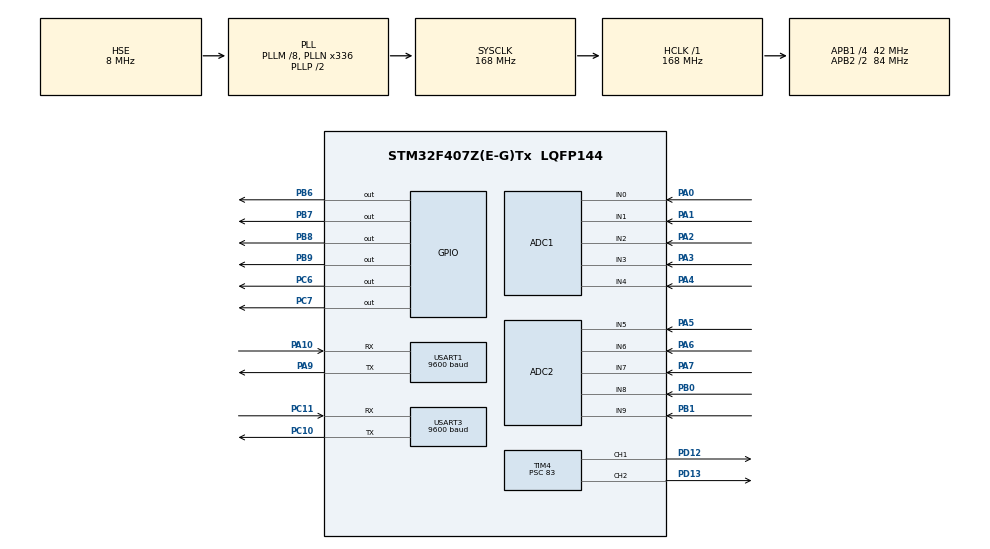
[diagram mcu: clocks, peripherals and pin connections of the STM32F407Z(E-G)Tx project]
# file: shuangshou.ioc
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ADC1.Channel-0\#ChannelRegularConversion=ADC_CHANNEL_0
ADC1.Channel-1\#ChannelRegularConversion=ADC_CHANNEL_1
ADC1.Channel-2\#ChannelRegularConversion=ADC_CHANNEL_2
ADC1.Channel-3\#ChannelRegularConversion=ADC_CHANNEL_3
ADC1.Channel-4\#ChannelRegularConversion=ADC_CHANNEL_4
ADC1.ClockPrescaler=ADC_CLOCK_SYNC_PCLK_DIV4
ADC1.ContinuousConvMode=ENABLE
ADC1.DMAContinuousRequests=ENABLE
ADC1.DiscontinuousConvMode=DISABLE
ADC1.NbrOfConversion=5
ADC1.NbrOfConversionFlag=1
ADC1.Rank-0\#ChannelRegularConversion=1
ADC1.Rank-1\#ChannelRegularConversion=2
ADC1.Rank-2\#ChannelRegularConversion=3
ADC1.Rank-3\#ChannelRegularConversion=4
ADC1.Rank-4\#ChannelRegularConversion=5
ADC1.SamplingTime-0\#ChannelRegularConversion=ADC_SAMPLETIME_480CYCLES
ADC1.SamplingTime-1\#ChannelRegularConversion=ADC_SAMPLETIME_480CYCLES
ADC1.SamplingTime-2\#ChannelRegularConversion=ADC_SAMPLETIME_480CYCLES
ADC1.SamplingTime-3\#ChannelRegularConversion=ADC_SAMPLETIME_480CYCLES
ADC1.SamplingTime-4\#ChannelRegularConversion=ADC_SAMPLETIME_480CYCLES
ADC1.ScanConvMode=ENABLE
ADC1.master=1
ADC2.Channel-0\#ChannelRegularConversion=ADC_CHANNEL_5
ADC2.Channel-1\#ChannelRegularConversion=ADC_CHANNEL_6
ADC2.Channel-2\#ChannelRegularConversion=ADC_CHANNEL_7
ADC2.Channel-3\#ChannelRegularConversion=ADC_CHANNEL_8
ADC2.Channel-4\#ChannelRegularConversion=ADC_CHANNEL_9
ADC2.ClockPrescaler=ADC_CLOCK_SYNC_PCLK_DIV4
ADC2.ContinuousConvMode=ENABLE
ADC2.DMAContinuousRequests=ENABLE
ADC2.NbrOfConversion=5
ADC2.NbrOfConversionFlag=1
ADC2.Rank-0\#ChannelRegularConversion=1
ADC2.Rank-1\#ChannelRegularConversion=2
ADC2.Rank-2\#ChannelRegularConversion=3
ADC2.Rank-3\#ChannelRegularConversion=4
ADC2.Rank-4\#ChannelRegularConversion=5
ADC2.SamplingTime-0\#ChannelRegularConversion=ADC_SAMPLETIME_480CYCLES
ADC2.SamplingTime-1\#ChannelRegularConversion=ADC_SAMPLETIME_480CYCLES
ADC2.SamplingTime-2\#ChannelRegularConversion=ADC_SAMPLETIME_480CYCLES
ADC2.SamplingTime-3\#ChannelRegularConversion=ADC_SAMPLETIME_480CYCLES
ADC2.SamplingTime-4\#ChannelRegularConversion=ADC_SAMPLETIME_480CYCLES
ADC2.ScanConvMode=ENABLE
Dma.ADC1.0.Direction=DMA_PERIPH_TO_MEMORY
Dma.ADC1.0.FIFOMode=DMA_FIFOMODE_DISABLE
Dma.ADC1.0.Instance=DMA2_Stream0
Dma.ADC1.0.MemDataAlignment=DMA_MDATAALIGN_HALFWORD
Dma.ADC1.0.MemInc=DMA_MINC_ENABLE
Dma.ADC1.0.Mode=DMA_CIRCULAR
Dma.ADC1.0.PeriphDataAlignment=DMA_PDATAALIGN_HALFWORD
Dma.ADC1.0.PeriphInc=DMA_PINC_DISABLE
Dma.ADC1.0.Priority=DMA_PRIORITY_LOW
Dma.ADC2.1.Direction=DMA_PERIPH_TO_MEMORY
Dma.ADC2.1.FIFOMode=DMA_FIFOMODE_DISABLE
Dma.ADC2.1.Instance=DMA2_Stream2
Dma.ADC2.1.MemDataAlignment=DMA_MDATAALIGN_HALFWORD
Dma.ADC2.1.MemInc=DMA_MINC_ENABLE
Dma.ADC2.1.Mode=DMA_CIRCULAR
Dma.ADC2.1.PeriphDataAlignment=DMA_PDATAALIGN_HALFWORD
Dma.ADC2.1.PeriphInc=DMA_PINC_DISABLE
Dma.ADC2.1.Priority=DMA_PRIORITY_LOW
Dma.Request0=ADC1
Dma.Request1=ADC2
Dma.Request2=USART1_TX
Dma.USART1_TX.2.Direction=DMA_MEMORY_TO_PERIPH
Dma.USART1_TX.2.FIFOMode=DMA_FIFOMODE_DISABLE
Dma.USART1_TX.2.Instance=DMA2_Stream7
Dma.USART1_TX.2.MemDataAlignment=DMA_MDATAALIGN_BYTE
Dma.USART1_TX.2.MemInc=DMA_MINC_ENABLE
Dma.USART1_TX.2.Mode=DMA_NORMAL
Dma.USART1_TX.2.PeriphDataAlignment=DMA_PDATAALIGN_BYTE
Dma.USART1_TX.2.PeriphInc=DMA_PINC_DISABLE
Dma.USART1_TX.2.Priority=DMA_PRIORITY_LOW
Mcu.Family=STM32F4
Mcu.Name=STM32F407Z(E-G)Tx
Mcu.Package=LQFP144
NVIC.DMA2_Stream0_IRQn=true\:0\:0\:false\:false\:true\:false\:true\:true
NVIC.DMA2_Stream2_IRQn=true\:0\:0\:false\:false\:true\:false\:true\:true
NVIC.DMA2_Stream7_IRQn=true\:0\:0\:false\:false\:true\:false\:true\:true
NVIC.PriorityGroup=NVIC_PRIORITYGROUP_4
NVIC.TIM3_IRQn=true\:0\:0\:false\:false\:true\:true\:true\:true
NVIC.USART1_IRQn=true\:0\:0\:false\:false\:true\:false\:true\:true
NVIC.USART3_IRQn=true\:0\:0\:false\:false\:true\:true\:true\:true
PA0-WKUP.Signal=ADCx_IN0
PA1.Signal=ADCx_IN1
PA10.Mode=Asynchronous
PA10.Signal=USART1_RX
PA13.Mode=Serial_Wire
PA13.Signal=SYS_JTMS-SWDIO
PA14.Mode=Serial_Wire
PA14.Signal=SYS_JTCK-SWCLK
PA2.Signal=ADCx_IN2
PA3.Signal=ADCx_IN3
PA4.Signal=ADCx_IN4
PA5.Signal=ADCx_IN5
PA6.Signal=ADCx_IN6
PA7.Signal=ADCx_IN7
PA9.Mode=Asynchronous
PA9.Signal=USART1_TX
PB0.Signal=ADCx_IN8
PB1.Signal=ADCx_IN9
PB6.GPIO_Speed=GPIO_SPEED_FREQ_HIGH
PB6.PinState=GPIO_PIN_SET
PB6.Signal=GPIO_Output
PB7.GPIO_Speed=GPIO_SPEED_FREQ_HIGH
PB7.PinState=GPIO_PIN_SET
PB7.Signal=GPIO_Output
PB8.GPIO_Speed=GPIO_SPEED_FREQ_HIGH
PB8.PinState=GPIO_PIN_SET
PB8.Signal=GPIO_Output
PB9.GPIO_Speed=GPIO_SPEED_FREQ_HIGH
PB9.PinState=GPIO_PIN_SET
PB9.Signal=GPIO_Output
PC10.Mode=Asynchronous
PC10.Signal=USART3_TX
PC11.Mode=Asynchronous
PC11.Signal=USART3_RX
PC6.GPIO_Speed=GPIO_SPEED_FREQ_HIGH
PC6.PinState=GPIO_PIN_SET
PC6.Signal=GPIO_Output
PC7.GPIO_Speed=GPIO_SPEED_FREQ_HIGH
PC7.PinState=GPIO_PIN_SET
PC7.Signal=GPIO_Output
PD12.Signal=S_TIM4_CH1
PD13.Signal=S_TIM4_CH2
PH0-OSC_IN.Mode=HSE-External-Oscillator
PH0-OSC_IN.Signal=RCC_OSC_IN
PH1-OSC_OUT.Mode=HSE-External-Oscillator
PH1-OSC_OUT.Signal=RCC_OSC_OUT
ProjectManager.HeapSize=0x200
ProjectManager.StackSize=0x400
ProjectManager.TargetToolchain=MDK-ARM V5.32
RCC.48MHZClocksFreq_Value=84000000
RCC.AHBFreq_Value=168000000
RCC.APB1CLKDivider=RCC_HCLK_DIV4
RCC.APB1Freq_Value=42000000
RCC.APB1TimFreq_Value=84000000
RCC.APB2CLKDivider=RCC_HCLK_DIV2
RCC.APB2Freq_Value=84000000
RCC.APB2TimFreq_Value=168000000
RCC.CortexFreq_Value=168000000
RCC.HCLKFreq_Value=168000000
RCC.HSE_VALUE=8000000
RCC.HSI_VALUE=16000000
RCC.LSE_VALUE=32768
RCC.PLLM=8
RCC.PLLN=336
RCC.PLLSourceVirtual=RCC_PLLSOURCE_HSE
RCC.SYSCLKFreq_VALUE=168000000
RCC.SYSCLKSource=RCC_SYSCLKSOURCE_PLLCLK
RCC.VCOOutputFreq_Value=336000000
SH.ADCx_IN0.0=ADC1_IN0,IN0
SH.ADCx_IN1.0=ADC1_IN1,IN1
SH.ADCx_IN2.0=ADC1_IN2,IN2
SH.ADCx_IN3.0=ADC1_IN3,IN3
SH.ADCx_IN4.0=ADC1_IN4,IN4
SH.ADCx_IN5.0=ADC2_IN5,IN5
SH.ADCx_IN6.0=ADC2_IN6,IN6
SH.ADCx_IN7.0=ADC2_IN7,IN7
SH.ADCx_IN8.0=ADC2_IN8,IN8
SH.ADCx_IN9.0=ADC2_IN9,IN9
SH.S_TIM4_CH1.0=TIM4_CH1,PWM Generation1 CH1
SH.S_TIM4_CH2.0=TIM4_CH2,PWM Generation2 CH2
TIM3.Period=999
TIM3.Prescaler=83
TIM4.Channel-PWM\ Generation1\ CH1=TIM_CHANNEL_1
TIM4.Channel-PWM\ Generation2\ CH2=TIM_CHANNEL_2
TIM4.Period=999
TIM4.Prescaler=83
TIM4.Pulse-PWM\ Generation1\ CH1=500
TIM4.Pulse-PWM\ Generation2\ CH2=500
USART1.BaudRate=9600
USART1.VirtualMode=VM_ASYNC
USART3.BaudRate=9600
USART3.VirtualMode=VM_ASYNC
VP_TIM3_VS_ClockSourceINT.Mode=Internal
board=custom

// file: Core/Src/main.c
/* USER CODE BEGIN Header */
/**
  ******************************************************************************
  * @file           : main.c
  * @brief          : 双手手语翻译手套 - 主调度框架（防御性重构 v3.1）
  * @author         : 项目维护重构版 v3.1
  * @date           : 2026-06-29
  * @note 多速率时序调度（基于 TIM3 1ms 系统 tick）
  *   5ms   / 200Hz : JY61P 双路 Burst Read（ACC + GYRO + ANGLE）
  *   10ms  / 100Hz : 跌倒检测 + MAX30102 FIFO 分时读取
  *   20ms  /  50Hz : ADC Ping-Pong 快照 + Flex_Update + 痉挛检测
  *   50ms  /  20Hz : 手势识别 + DFPlayer 触发 + 振动维护
  *   100ms /  10Hz : 蓝牙指令消费 + SOS 告警 + MAX30102 批处理
  *   200ms /   5Hz : 蓝牙遥测帧输出（手指/姿态/HR/SpO2/Mode）
  * @note 防御性设计
  *   1. Flex 采样链路使用 Ping-Pong DMA，避免读取时被后台 DMA 覆盖。
  *   2. MAX30102 以 10ms 轮询对齐 100Hz，降低 FIFO 失步和溢出风险。
  *   3. 心率/血氧越界判定下沉到驱动层，main 仅消费最终结果。
  ******************************************************************************
  */
/* USER CODE END Header */
#include "main.h"
#include "adc.h"
#include "dma.h"
#include "tim.h"
#include "usart.h"
#include "gpio.h"

/* USER CODE BEGIN Includes */
#include "i2c.h"
#include "flex_sensor.h"
#include "jy61p.h"
#include "dfplayer.h"
#include "bluetooth.h"
#include "vibrator.h"
#include "gesture.h"
#include "max30102.h"
#include "bringup_diag.h"
#include "soft_uart.h"
#include "math.h"
#include "stdio.h"
#include "string.h"
/* USER CODE END Includes */

/* USER CODE BEGIN PTD */

/**
 * v3.1 升级说明：柔性传感器采样改为 ADC Ping-Pong 双缓冲
 * （HalfCplt/Cplt 中断），细节见 flex_sensor.c 与 adc.c 的 USER CODE。
 * 旧版 ADC_DMA_PAUSE/RESUME 宏已废弃。
 */
/* USER CODE END PTD */

/* USER CODE BEGIN PD */

/* MAX30102 生命体征告警阈值 */
#define HR_ALARM_HIGH   120U   /* 心率 > 120 bpm -> 异常告警 */
#define HR_ALARM_LOW     50U   /* 心率 <  50 bpm -> 异常告警 */
#define SPO2_ALARM_LOW   90U   /* 血氧 <  90%   -> 缺氧告警 */

/* USER CODE END PD */

/* USER CODE BEGIN PV */

/* ADC DMA 循环缓冲（每只手 5 通道，Ping-Pong 双半区） */
volatile uint16_t adc1_buf[ADC_PINGPONG_SIZE];  /* 右手 5ch x 2 half-buffer */
volatile uint16_t adc2_buf[ADC_PINGPONG_SIZE];  /* 左手 5ch x 2 half-buffer */

/* 多速率调度时间戳 */
static uint32_t t_5ms   = 0;
static uint32_t t_10ms  = 0;
static uint32_t t_20ms  = 0;
static uint32_t t_50ms  = 0;
static uint32_t t_100ms = 0;
static uint32_t t_200ms = 0;

/* 全局 SOS 标志，可被多个任务置位 */
static uint8_t sos_flag = 0;

/* 全局系统 tick，由 TIM3 1ms 中断递增 */
volatile uint32_t sys_tick_ms = 0;

/* UART3 中断接收单字节缓冲 */
static volatile uint8_t uart3_rx_byte;

/* MAX30102 初始化状态 */
static uint8_t max30102_present = 0;  /* 1 = 设备在线且初始化成功 */

/* 三步跌倒检测状态机（基于 JY61P 加速度） */
static uint8_t  fall_state = 0;        /* 0=待机 1=失重 2=撞击后等待静止 */
static uint32_t fall_t_freefall = 0;
static uint32_t fall_t_impact = 0;

/* JY61P 双手姿态数据（由驱动层维护） */
extern JY61P_Data_t JY61P_Right;
extern JY61P_Data_t JY61P_Left;

/* USER CODE END PV */

void SystemClock_Config(void);

int main(void)
{
  /* USER CODE BEGIN 1 */
  uint8_t jy_right_ret;
  uint8_t jy_left_ret;
  /* USER CODE END 1 */

  /* MCU Configuration--------------------------------------------------------*/
  HAL_Init();
  SystemClock_Config();

  /* Initialize all configured peripherals */
  MX_GPIO_Init();
  MX_DMA_Init();
  MX_I2C1_Init();
  MX_I2C2_Init();
  MX_I2C3_Init();
  MX_USART1_UART_Init();
  MX_USART3_UART_Init();
  MX_ADC1_Init();
  MX_ADC2_Init();
  MX_TIM3_Init();
  MX_TIM4_Init();

  /* 启动 TIM3 1ms 中断，作为统一调度时钟源 */
  HAL_TIM_Base_Start_IT(&htim3);

  /* USER CODE BEGIN 2 */
  BringupDiag_Init();

  /* 阶段 1：基础通信与采样链路初始化 */
  Flex_Init();         /* 柔性传感器极值/方向初始化 */

  /* 阶段 2：启动 ADC DMA 循环扫描（双 ADC 独立 DMA） */
  HAL_ADC_Start_DMA(&hadc1, (uint32_t *)adc1_buf, ADC_PINGPONG_SIZE);
  HAL_ADC_Start_DMA(&hadc2, (uint32_t *)adc2_buf, ADC_PINGPONG_SIZE);

  /* 阶段 3：初始化双路 JY61P（已替代旧注释中的 MPU6050） */
  jy_right_ret = JY61P_Init(JY61P_CH_RIGHT);
  if (jy_right_ret != 0U) {
      BringupDiag_SetJYRightResult(0, jy_right_ret);
      /* 右手 JY61P 未就绪：检查 3.3V 供电及是否已切换到 I2C 模式 */
  } else {
      BringupDiag_SetJYRightResult(1, jy_right_ret);
  }
  jy_left_ret = JY61P_Init(JY61P_CH_LEFT);
  if (jy_left_ret != 0U) {
      BringupDiag_SetJYLeftResult(0, jy_left_ret);
      /* 左手 JY61P 未就绪：排查项同上 */
  } else {
      BringupDiag_SetJYLeftResult(1, jy_left_ret);
  }

  /* 阶段 4：初始化外设模块 */
  DFPlayer_Init();     /* DFPlayer 上电，默认音量 25 */
  BT_Init();           /* 蓝牙接收缓冲和协议解析器初始化 */
  Vibrator_Init();     /* TIM4 PWM 双通道启动，占空比先置 0 */
  Gesture_Init();      /* 手势状态机与 jerk 检测窗口清零 */
  SoftUART_Init();     /* PE0 软串口，预留给 ESP-01S MQTT */

  /* 阶段 5：初始化 MAX30102，失败时允许系统降级运行 */
  {
      uint8_t max30102_status = MAX30102_Init();
      if (max30102_status == 0U) {
          max30102_present = 1;
          BringupDiag_SetMAX30102Result(1, max30102_status);
      } else {
          max30102_present = 0;
          BringupDiag_SetMAX30102Result(0, max30102_status);
          /* MAX30102 不在线时，仅关闭心率/血氧功能，不阻塞其他模块 */
          /* 当前仍处于无实物阶段，这条降级路径也方便空板联调 */
      }
  }
  BringupDiag_RecomputeDegraded();

  /* 阶段 6：启动 UART3 单字节中断接收 */
  HAL_UART_Receive_IT(&huart3, (uint8_t *)&uart3_rx_byte, 1);
  BT_SendString("BOOT:C63AFB5\r\n");

  /* 上电提示：播放启动音并短振双手 */
  DFPlayer_Play(99);  /* 99.mp3 = 开机提示音 */
  Vibrator_Pulse(VIB_RIGHT, 50, 80);
  Vibrator_Pulse(VIB_LEFT,  50, 80);

  /* USER CODE END 2 */

  /* Infinite loop */
  /* USER CODE BEGIN WHILE */
  while (1)
  {
    uint32_t now = sys_tick_ms;

    /* 任务 1：5ms / 200Hz，双路 JY61P Burst Read */
    if (now - t_5ms >= 5U) {
        t_5ms = now;
        float acc[3], gyro[3], angle[3];
        JY61P_Read_Data(JY61P_CH_RIGHT, acc, gyro, angle);
        JY61P_Read_Data(JY61P_CH_LEFT,  acc, gyro, angle);
    }

    /* 任务 2：10ms / 100Hz，跌倒检测 + MAX30102 FIFO 读取 */
    if (now - t_10ms >= 10U) {
        t_10ms = now;

        /* 三步跌倒检测（以右手加速度为主） */
        {
            float ax = JY61P_Right.acc[0];
            float ay = JY61P_Right.acc[1];
            float az = JY61P_Right.acc[2];
            float a_mag = sqrtf(ax*ax + ay*ay + az*az);

            switch (fall_state) {
            case 0: /* 待机 -> 监测失重 */
                if (a_mag < 3.92f) {  /* < 0.4g */
                    if (fall_t_freefall == 0) fall_t_freefall = now;
                    if (now - fall_t_freefall > 30) fall_state = 1;
                } else {
                    fall_t_freefall = 0;
                }
                break;
            case 1: /* 失重后等待撞击 */
                if (a_mag > 29.4f) {  /* > 3g */
                    fall_t_impact = now;
                    fall_state = 2;
                }
                if (now - fall_t_freefall > 2000) { fall_state = 0; fall_t_freefall = 0; }
                break;
            case 2: /* 撞击后等待静止确认 */
                if (now - fall_t_impact > 10000) {
                    if (a_mag < 11.76f && a_mag > 7.84f) {  /* 0.8g~1.2g = 静止躺地 */
                        sos_flag = 1;  /* 满足跌倒条件，触发 SOS */
                    }
                    fall_state = 0;
                }
                break;
            }
        }

        /* MAX30102 FIFO 分时读取（100Hz 同步轮询） */
        if (max30102_present) {
            MAX30102_ReadFIFO();
            /* 由驱动层负责 FIFO 溢出恢复、样本有效性与时间戳维护 */
        }
    }

    /* 任务 3：20ms / 50Hz，Flex 更新 + 手指痉挛检测 */
    if (now - t_20ms >= 20U) {
        t_20ms = now;
        /* v2.4 起改为 Ping-Pong 快照，Flex_Update 内部读取稳定半缓冲区 */
        Flex_Update();

        /* 基于更新后的历史缓冲进行痉挛检测 */
        for (uint8_t f = 0; f < 5; f++) {
            if (Flex_CheckSpasm(0, f) || Flex_CheckSpasm(1, f)) {
                sos_flag = 1;  /* 检出痉挛后统一走 SOS 提示链路 */
            }
        }
    }

    /* 任务 4：50ms / 20Hz，手势识别 + 振动维护 */
    if (now - t_50ms >= 50U) {
        t_50ms = now;

        /* 根据当前双手状态机输出一个手势结果 */
        GestureResult_t gr = Gesture_Evaluate();
        if (gr.active) {
            if (gr.is_ctrl) {
                /* 控制模式：经软串口下发 MQTT 控制消息 */
                SoftUART_SendMQTT(ctrl_vocab[gr.ctrl_idx].topic,
                                  ctrl_vocab[gr.ctrl_idx].payload);
                Vibrator_Pulse(VIB_RIGHT, 50, 80);
            } else {
                /* 翻译/康复模式：播放对应语音 */
                if (!DFPlayer_IsBusy()) {
                    DFPlayer_Play(gr.file_index);
                }
                Vibrator_Pulse(VIB_RIGHT, 50, 80);
                Vibrator_Pulse(VIB_LEFT,  50, 80);
            }
        }

        /* 维护振动脉冲自动关闭 */
        Vibrator_Tick();
    }

    /* 任务 5：100ms / 10Hz，模式切换 + 蓝牙指令 + PPG 批处理 */
    if (now - t_100ms >= 100U) {
        t_100ms = now;
        char bt_line[BT_RX_BUF_SIZE];

        /* 保持双手全弯 3 秒切换模式，并播放模式提示音 */
        {
            static uint8_t  mode_hold = 0;
            static uint32_t mode_start = 0;
            char cur[11];
            Gesture_GetCurrentCode(cur);
            cur[10] = '\0';
            if (strcmp(cur, "2222222222") == 0) {
                if (!mode_hold) {
                    mode_hold = 1;
                    mode_start = now;
                    /* Hold 期间冻结手势输出，避免误触发语音 */
                    Gesture_Freeze();
                } else if (now - mode_start > 3000U) {
                    /* 满足 3 秒后停播当前语音并切换到下一模式 */
                    DFPlayer_Stop();
                    GestureMode_t m = Gesture_GetMode();
                    m = (GestureMode_t)(((uint8_t)m + 1U) % 3U);
                    Gesture_SetMode(m);
                    Gesture_Unfreeze();
                    if (m == MODE_TRANSLATE)      DFPlayer_Play(60);
                    else if (m == MODE_CONTROL)   DFPlayer_Play(61);
                    else                           DFPlayer_Play(62);
                    mode_hold = 0;
                }
            } else {
                /* 松手后解冻，恢复正常识别 */
                if (mode_hold) Gesture_Unfreeze();
                mode_hold = 0;
            }
        }

        /* 消费蓝牙指令 */
        uint8_t cmd = BT_GetCommand();
        switch (cmd) {
        case BT_CMD_CAL_MIN:
            Gesture_Calibrate(0, 0);  /* 右手 MIN 校准 */
            Gesture_Calibrate(1, 0);  /* 左手 MIN 校准 */
            break;
        case BT_CMD_CAL_MAX:
            Gesture_Calibrate(0, 1);  /* 右手 MAX 校准 */
            Gesture_Calibrate(1, 1);  /* 左手 MAX 校准 */
            break;
        case BT_CMD_SENS_1:
            Gesture_SetSensitivity(GESTURE_SENS_HIGH);
            break;
        case BT_CMD_SENS_2:
            Gesture_SetSensitivity(GESTURE_SENS_MED);
            break;
        case BT_CMD_SENS_3:
            Gesture_SetSensitivity(GESTURE_SENS_LOW);
            break;
        default:
            break;
        }

        if (BT_FetchLastString(bt_line, sizeof(bt_line))) {
            uint16_t file_num = 0U;
            unsigned volume = 0U;

            if (sscanf(bt_line, "<DF:PLAY=%hu>", &file_num) == 1) {
                DFPlayer_Play(file_num);
                BT_SendString("DF:PLAY OK\r\n");
            } else if (strstr(bt_line, "<DF:STOP>")) {
                DFPlayer_Stop();
                BT_SendString("DF:STOP OK\r\n");
            } else if (sscanf(bt_line, "<DF:VOL=%u>", &volume) == 1) {
                if (volume > 30U) {
                    volume = 30U;
                }
                DFPlayer_SetVolume((uint8_t)volume);
                BT_SendString("DF:VOL OK\r\n");
            }
        }

        /* MAX30102 批处理与生命体征告警 */
        if (max30102_present) {
            MAX30102_ProcessTick();

            uint8_t hr   = MAX30102_GetHR();
            uint8_t spo2 = MAX30102_GetSpO2();

            if (hr > HR_ALARM_HIGH || (hr < HR_ALARM_LOW && hr > 0)) {
                sos_flag = 1;  /* 心率异常 -> SOS */
            }
            if (spo2 < SPO2_ALARM_LOW && spo2 > 0) {
                sos_flag = 1;  /* 血氧异常 -> SOS */
            }

            /* 手指脱离提示：离线超过 2 秒时长振提醒重新佩戴 */
            {
                static uint8_t  finger_off_ticks = 0;
                static uint8_t  finger_off_alarmed = 0;
                if (!MAX30102_IsOnline()) {
                    finger_off_ticks++;
                    if (finger_off_ticks > 20 && !finger_off_alarmed) {
                        Vibrator_Pulse(VIB_RIGHT, 300, 50);
                        Vibrator_Pulse(VIB_LEFT,  300, 50);
                        finger_off_alarmed = 1;
                    }
                } else {
                    finger_off_ticks = 0;
                    finger_off_alarmed = 0;
                }
            }
        }

        /* 统一 SOS 音频触发 */
        if (sos_flag) {
            DFPlayer_Play(30);  /* 30.mp3 = 紧急提示音 */
            sos_flag = 0;
        }
    }

    /* 任务 6：200ms / 5Hz，蓝牙遥测帧 */
    if (now - t_200ms >= 200U) {
        static uint32_t t_bringup_diag = 0;
        t_200ms = now;

        uint8_t frame[20];
        uint8_t pos = 0;
        frame[pos++] = 0xAAU;  /* 帧头 */

        /* 右手 5 指弯曲百分比 */
        for (uint8_t f = 0; f < 5U; f++)
            frame[pos++] = Flex_GetPercent(0, f);

        /* Roll/Pitch/Yaw（乘 100，int16 小端） */
        int16_t roll  = (int16_t)(JY61P_Right.angle[0] * 100.0f);
        int16_t pitch = (int16_t)(JY61P_Right.angle[1] * 100.0f);
        int16_t yaw   = (int16_t)(JY61P_Right.angle[2] * 100.0f);
        frame[pos++] = (uint8_t)(roll & 0xFF);
        frame[pos++] = (uint8_t)((roll >> 8) & 0xFF);
        frame[pos++] = (uint8_t)(pitch & 0xFF);
        frame[pos++] = (uint8_t)((pitch >> 8) & 0xFF);
        frame[pos++] = (uint8_t)(yaw & 0xFF);
        frame[pos++] = (uint8_t)((yaw >> 8) & 0xFF);

        /* 心率和血氧 */
        frame[pos++] = max30102_present ? MAX30102_GetHR()   : 0U;
        frame[pos++] = max30102_present ? MAX30102_GetSpO2() : 0U;

        /* 当前模式 */
        frame[pos++] = (uint8_t)Gesture_GetMode();

        /* 左手 5 指弯曲百分比 */
        for (uint8_t f = 0; f < 5U; f++)
            frame[pos++] = Flex_GetPercent(1, f);

        /* XOR 校验（不含帧头和帧尾） */
        uint8_t csum = 0U;
        for (uint8_t i = 1U; i < pos; i++) csum ^= frame[i];
        frame[pos++] = csum;
        frame[pos++] = 0xBBU;

        {
            char flex_line[128];
            char imu_line[64];

            snprintf(flex_line, sizeof(flex_line),
                     "FLEX|L1=%u|L2=%u|L3=%u|L4=%u|L5=%u|R1=%u|R2=%u|R3=%u|R4=%u|R5=%u\r\n",
                     Flex_GetPercent(1, 0), Flex_GetPercent(1, 1), Flex_GetPercent(1, 2),
                     Flex_GetPercent(1, 3), Flex_GetPercent(1, 4), Flex_GetPercent(0, 0),
                     Flex_GetPercent(0, 1), Flex_GetPercent(0, 2), Flex_GetPercent(0, 3),
                     Flex_GetPercent(0, 4));
            BT_SendString(flex_line);

            snprintf(imu_line, sizeof(imu_line),
                     "IMU|R=%.2f|P=%.2f|Y=%.2f\r\n",
                     (double)JY61P_Right.angle[0],
                     (double)JY61P_Right.angle[1],
                     (double)JY61P_Right.angle[2]);
            BT_SendString(imu_line);
        }

        BringupDiag_SetADCSeen(Flex_HasValidSnapshot(0), Flex_HasValidSnapshot(1));
        if ((now - t_bringup_diag) >= 1000U) {
            t_bringup_diag = now;
            (void)BringupDiag_TrySend(&huart3);
        }
    }

    /* USER CODE END WHILE */
  }
}

/* USER CODE BEGIN 4 */

/*
 * TIM3 1ms 中断回调：维护全局系统 tick。
 * sys_tick_ms 是整套多速率调度器唯一的时间基准。
 */
void HAL_TIM_PeriodElapsedCallback(TIM_HandleTypeDef *htim)
{
    if (htim->Instance == TIM3) {
        sys_tick_ms++;
    }
}

/*
 * USART3 接收完成回调：蓝牙单字节非阻塞接收。
 * 先重新挂接 HAL_UART_Receive_IT，再消费字节，避免回调期间丢下一个字节。
 */
void HAL_UART_RxCpltCallback(UART_HandleTypeDef *huart)
{
    if (huart->Instance == USART3) {
        uint8_t byte = uart3_rx_byte;
        HAL_UART_Receive_IT(&huart3, (uint8_t *)&uart3_rx_byte, 1);
        BT_RxCallback(byte);
    }
}

/*
 * USART1 DMA 发送完成回调：供 DFPlayer 串口 DMA 使用。
 * 完成后由 DFPlayer_DMA_TxCplt 释放忙标志并推进待发队列。
 */
void HAL_UART_TxCpltCallback(UART_HandleTypeDef *huart)
{
    if (huart->Instance == USART1) {
        DFPlayer_DMA_TxCplt();
    }
}

/* USER CODE END 4 */

void SystemClock_Config(void)
{
  RCC_OscInitTypeDef RCC_OscInitStruct = {0};
  RCC_ClkInitTypeDef RCC_ClkInitStruct = {0};

  /** Configure the main internal regulator output voltage
   */
  __HAL_RCC_PWR_CLK_ENABLE();
  __HAL_PWR_VOLTAGESCALING_CONFIG(PWR_REGULATOR_VOLTAGE_SCALE1);

  /** Initializes the RCC Oscillators according to the specified parameters
   * in the RCC_OscInitTypeDef structure.
   */
  RCC_OscInitStruct.OscillatorType = RCC_OSCILLATORTYPE_HSE;
  RCC_OscInitStruct.HSEState = RCC_HSE_ON;
  RCC_OscInitStruct.PLL.PLLState = RCC_PLL_ON;
  RCC_OscInitStruct.PLL.PLLSource = RCC_PLLSOURCE_HSE;
  RCC_OscInitStruct.PLL.PLLM = 8;
  RCC_OscInitStruct.PLL.PLLN = 336;
  RCC_OscInitStruct.PLL.PLLP = RCC_PLLP_DIV2;
  RCC_OscInitStruct.PLL.PLLQ = 4;
  if (HAL_RCC_OscConfig(&RCC_OscInitStruct) != HAL_OK)
  {
    Error_Handler();
  }

  /** Initializes the CPU, AHB and APB buses clocks
   */
  RCC_ClkInitStruct.ClockType = RCC_CLOCKTYPE_HCLK|RCC_CLOCKTYPE_SYSCLK
                              |RCC_CLOCKTYPE_PCLK1|RCC_CLOCKTYPE_PCLK2;
  RCC_ClkInitStruct.SYSCLKSource = RCC_SYSCLKSOURCE_PLLCLK;
  RCC_ClkInitStruct.AHBCLKDivider = RCC_SYSCLK_DIV1;
  RCC_ClkInitStruct.APB1CLKDivider = RCC_HCLK_DIV4;
  RCC_ClkInitStruct.APB2CLKDivider = RCC_HCLK_DIV2;

  if (HAL_RCC_ClockConfig(&RCC_ClkInitStruct, FLASH_LATENCY_5) != HAL_OK)
  {
    Error_Handler();
  }
}

void Error_Handler(void)
{
  __disable_irq();
  while (1)
  {
  }
}
